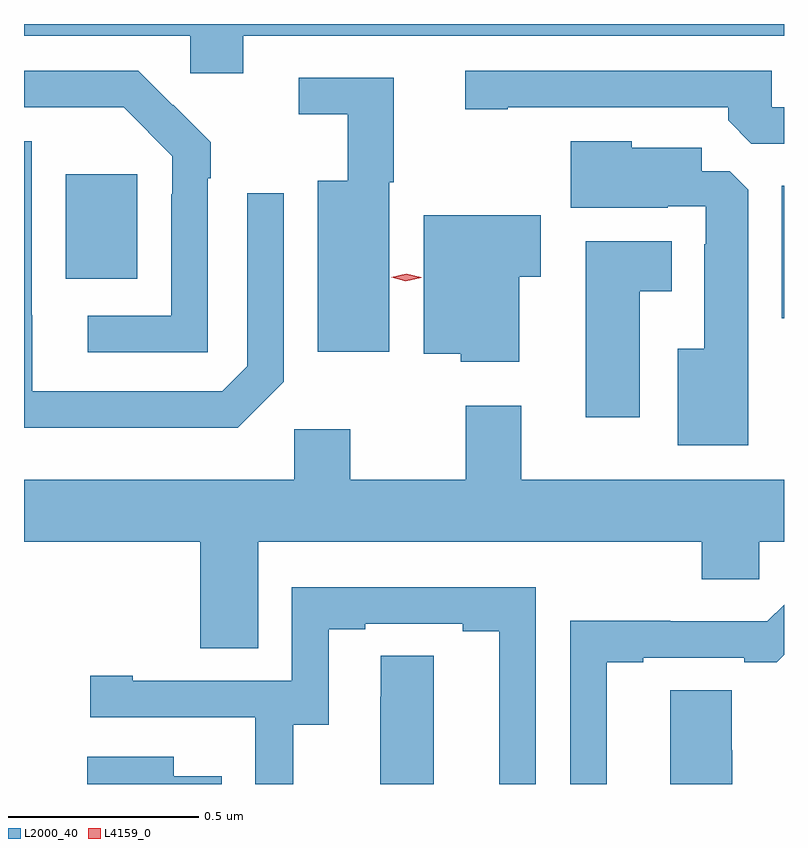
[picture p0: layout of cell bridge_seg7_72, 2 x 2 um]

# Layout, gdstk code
import gdstk
lib = gdstk.Library(unit=1e-6, precision=1e-09)
def R(c, l, rs):  # rectangles x0, y0, x1, y1
    for r in rs: c.add(gdstk.rectangle(r[:2], r[2:], *l))
def P(c, l, *ps):  # polygons
    for p in ps: c.add(gdstk.Polygon(p, *l))
L2000_40 = (2000, 40)
L4159_0 = (4159, 0)

bridge_seg7_72 = lib.new_cell('bridge_seg7_72')
R(bridge_seg7_72, L2000_40, [(1107.359,1031.841,1107.365,1032.19), (1105.475,1031.945,1105.663,1032.22)])
P(bridge_seg7_72, L2000_40, [(1105.942,1032.584),(1107.365,1032.584),(1107.365,1032.615),(1105.365,1032.615),(1105.365,1032.584),(1105.803,1032.584),(1105.803,1032.486),(1105.942,1032.486)],
  [(1105.848,1032.209),(1105.856,1032.209),(1105.856,1032.304),(1105.758,1032.402),(1105.757,1032.401),(1105.666,1032.492),(1105.365,1032.492),(1105.365,1032.396),(1105.627,1032.396),(1105.755,1032.267),(1105.755,1032.167),(1105.752,1032.167),(1105.752,1031.847),(1105.533,1031.847),(1105.533,1031.751),(1105.848,1031.751)],
  [(1107.365,1032.396),(1107.333,1032.396),(1107.333,1032.492),(1106.526,1032.492),(1106.526,1032.391),(1106.638,1032.391),(1106.638,1032.396),(1107.218,1032.396),(1107.218,1032.362),(1107.279,1032.3),(1107.365,1032.3)],
  [(1106.326,1032.198),(1106.338,1032.198),(1106.338,1032.474),(1106.088,1032.474),(1106.088,1032.377),(1106.217,1032.377),(1106.217,1032.202),(1106.138,1032.202),(1106.138,1031.753),(1106.326,1031.753)],
  [(1107.271,1032.179),(1107.222,1032.228),(1107.148,1032.228),(1107.148,1032.289),(1106.964,1032.289),(1106.964,1032.307),(1106.804,1032.307),(1106.804,1032.131),(1107.059,1032.131),(1107.059,1032.135),(1107.159,1032.135),(1107.159,1032.035),(1107.155,1032.035),(1107.155,1031.761),(1107.086,1031.761),(1107.086,1031.507),(1107.271,1031.507)],
  [(1106.049,1031.673),(1106.049,1032.169),(1105.953,1032.169),(1105.953,1031.715),(1105.887,1031.649),(1105.387,1031.649),(1105.387,1031.849),(1105.386,1031.849),(1105.386,1032.306),(1105.365,1032.306),(1105.365,1031.552),(1105.928,1031.552)],
  [(1106.668,1031.95),(1106.725,1031.95),(1106.725,1032.112),(1106.417,1032.112),(1106.417,1031.747),(1106.514,1031.747),(1106.514,1031.726),(1106.668,1031.726)],
  [(1106.986,1031.912),(1107.07,1031.912),(1107.07,1032.043),(1106.843,1032.043),(1106.843,1031.58),(1106.986,1031.58)],
  [(1105.981,1031.252),(1107.149,1031.252),(1107.149,1031.154),(1107.3,1031.154),(1107.3,1031.252),(1107.365,1031.252),(1107.365,1031.416),(1106.674,1031.416),(1106.674,1031.611),(1106.527,1031.611),(1106.527,1031.416),(1106.223,1031.416),(1106.223,1031.548),(1106.076,1031.548),(1106.076,1031.416),(1105.365,1031.416),(1105.365,1031.252),(1105.829,1031.252),(1105.829,1030.972),(1105.981,1030.972)],
  [(1106.073,1030.771),(1106.167,1030.771),(1106.167,1031.022),(1106.263,1031.022),(1106.263,1031.037),(1106.519,1031.037),(1106.519,1031.017),(1106.615,1031.017),(1106.615,1030.615),(1106.712,1030.615),(1106.712,1031.133),(1106.07,1031.133),(1106.07,1030.887),(1105.651,1030.887),(1105.651,1030.9),(1105.539,1030.9),(1105.539,1030.791),(1105.973,1030.791),(1105.973,1030.79),(1105.974,1030.79),(1105.974,1030.615),(1106.073,1030.615)],
  [(1106.899,1030.935),(1106.995,1030.935),(1106.995,1030.947),(1107.26,1030.947),(1107.26,1030.936),(1107.346,1030.936),(1107.365,1030.955),(1107.365,1031.087),(1107.321,1031.043),(1107.065,1031.043),(1107.065,1031.045),(1106.802,1031.045),(1106.802,1030.615),(1106.899,1030.615)],
  [(1106.443,1030.952),(1106.304,1030.952),(1106.304,1030.844),(1106.303,1030.844),(1106.303,1030.615),(1106.443,1030.615)],
  [(1107.229,1030.704),(1107.228,1030.704),(1107.228,1030.862),(1107.065,1030.862),(1107.065,1030.615),(1107.229,1030.615)],
  [(1105.885,1030.636),(1105.759,1030.636),(1105.759,1030.687),(1105.532,1030.687),(1105.532,1030.615),(1105.885,1030.615)])
P(bridge_seg7_72, L4159_0, [(1106.37,1031.938),(1106.331,1031.948),(1106.331,1031.948),(1106.331,1031.948),(1106.371,1031.958),(1106.41,1031.948),(1106.41,1031.947),(1106.41,1031.947)])

lib.write_gds('bridge_seg7_72.gds')
